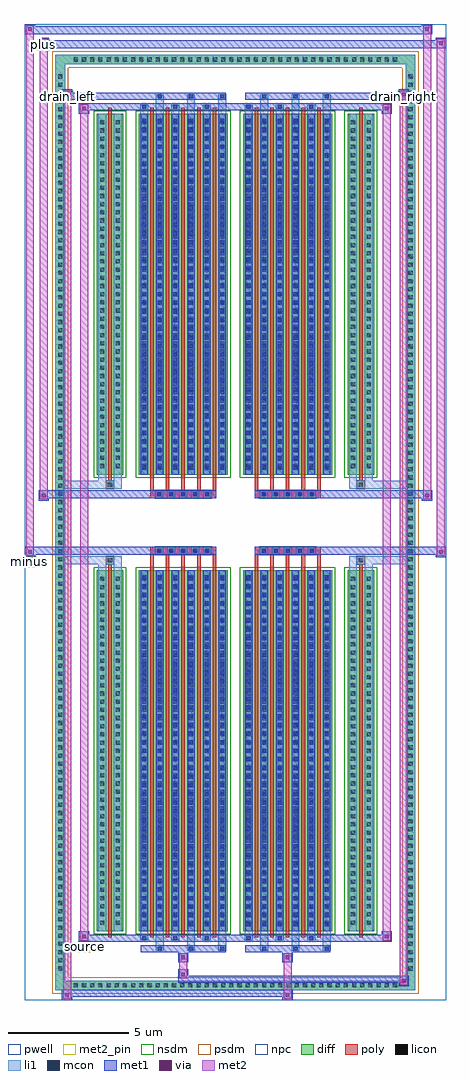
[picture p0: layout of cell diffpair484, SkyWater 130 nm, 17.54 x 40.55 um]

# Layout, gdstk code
import gdstk
lib = gdstk.Library(unit=1e-6, precision=5e-09)
def R(c, l, rs):  # rectangles x0, y0, x1, y1
    for r in rs: c.add(gdstk.rectangle(r[:2], r[2:], *l))
def A(c, l, x, y, w, h, nx, ny, dx, dy):  # array of equal rectangles
    R(c, l, [(x+i*dx, y+j*dy, x+i*dx+w, y+j*dy+h) for i in range(nx) for j in range(ny)])
def P(c, l, *ps):  # polygons
    for p in ps: c.add(gdstk.Polygon(p, *l))
pwell = (64, 44)
diff = (65, 20)
poly = (66, 20)
licon = (66, 44)
li1 = (67, 20)
mcon = (67, 44)
met1 = (68, 20)
via = (68, 44)
met2_pin = (69, 16)
met2 = (69, 20)
nsdm = (93, 44)
psdm = (94, 20)
npc = (95, 20)

diffpair484 = lib.new_cell('diffpair484')
R(diffpair484, pwell, [(-8.75,-19.84,8.75,20.71), (-6.07,-18.03,-0.01,-0.805), (0.01,-18.03,6.07,-0.805), (-6.07,0.805,-0.01,18.03), (0.01,0.805,6.07,18.03)])
A(diffpair484, diff, -6.835, -19.44, 0.41, 0.41, 40, 2, 0.34, 38.47)
A(diffpair484, diff, -7.48, -18.735, 0.41, 0.41, 1, 110, 0, 0.34)
A(diffpair484, diff, 7.07, -18.735, 0.41, 0.41, 1, 110, 0, 0.34)
R(diffpair484, diff, [(-6.835,-19.44,6.835,-19.03), (-7.48,-18.735,-7.07,18.735), (7.07,-18.735,7.48,18.735), (-5.76,-16.985,-4.66,-1.985), (-4.02,-16.985,-0.32,-1.985), (0.32,-16.985,4.02,-1.985), (4.66,-16.985,5.76,-1.985), (-5.76,1.985,-4.66,16.985), (-4.02,1.985,-0.32,16.985), (0.32,1.985,4.02,16.985), (4.66,1.985,5.76,16.985), (-6.835,19.03,6.835,19.44)])
P(diffpair484, diff, [(7.48,19.44),(-7.48,19.44),(-7.48,-19.03),(-7.07,-19.03),(-7.07,19.03),(7.07,19.03),(7.07,-19.03),(-7.07,-19.03),(-7.48,-19.03),(-7.48,-19.44),(7.48,-19.44)])
A(diffpair484, poly, -3.545, -17.235, 0.15, 15.5, 5, 2, 0.65, 18.97)
A(diffpair484, poly, 0.795, -17.235, 0.15, 15.5, 5, 2, 0.65, 18.97)
A(diffpair484, poly, -3.545, -1.735, 0.15, 0.4, 5, 2, 0.65, 3.07)
A(diffpair484, poly, 0.795, -1.735, 0.15, 0.4, 5, 2, 0.65, 3.07)
A(diffpair484, poly, -3.335, -1.335, 0.33, 0.33, 5, 2, 0.5, 2.34)
A(diffpair484, poly, 1.005, -1.335, 0.33, 0.33, 5, 2, 0.5, 2.34)
R(diffpair484, poly, [(-5.285,-17.235,-5.135,-1.735), (5.135,-17.235,5.285,-1.735), (-5.375,-1.735,-5.045,-1.405), (-5.375,-1.735,-5.045,-1.405), (5.045,-1.735,5.375,-1.405), (5.045,-1.735,5.375,-1.405), (-3.545,-1.335,-0.795,-1.005), (0.795,-1.335,3.545,-1.005), (-3.545,1.005,-0.795,1.335), (0.795,1.005,3.545,1.335), (-5.375,1.405,-5.045,1.735), (-5.375,1.405,-5.045,1.735), (5.045,1.405,5.375,1.735), (5.045,1.405,5.375,1.735), (-5.285,1.735,-5.135,17.235), (5.135,1.735,5.285,17.235)])
A(diffpair484, licon, -6.715, -19.32, 0.17, 0.17, 40, 2, 0.34, 38.47)
A(diffpair484, licon, -7.36, -18.615, 0.17, 0.17, 1, 110, 0, 0.34)
A(diffpair484, licon, 7.19, -18.615, 0.17, 0.17, 1, 110, 0, 0.34)
A(diffpair484, licon, -5.62, -16.71, 0.17, 0.17, 1, 43, 0, 0.34)
A(diffpair484, licon, -4.97, -16.71, 0.17, 0.17, 1, 43, 0, 0.34)
A(diffpair484, licon, -3.88, -16.71, 0.17, 0.17, 6, 43, 0.65, 0.34)
A(diffpair484, licon, 0.46, -16.71, 0.17, 0.17, 6, 43, 0.65, 0.34)
A(diffpair484, licon, 4.8, -16.71, 0.17, 0.17, 1, 43, 0, 0.34)
A(diffpair484, licon, 5.45, -16.71, 0.17, 0.17, 1, 43, 0, 0.34)
A(diffpair484, licon, -3.255, -1.255, 0.17, 0.17, 5, 2, 0.5, 2.34)
A(diffpair484, licon, 1.085, -1.255, 0.17, 0.17, 5, 2, 0.5, 2.34)
A(diffpair484, licon, -5.62, 2.26, 0.17, 0.17, 1, 43, 0, 0.34)
A(diffpair484, licon, -4.97, 2.26, 0.17, 0.17, 1, 43, 0, 0.34)
A(diffpair484, licon, -3.88, 2.26, 0.17, 0.17, 6, 43, 0.65, 0.34)
A(diffpair484, licon, 0.46, 2.26, 0.17, 0.17, 6, 43, 0.65, 0.34)
A(diffpair484, licon, 4.8, 2.26, 0.17, 0.17, 1, 43, 0, 0.34)
A(diffpair484, licon, 5.45, 2.26, 0.17, 0.17, 1, 43, 0, 0.34)
R(diffpair484, licon, [(-5.295,-1.655,-5.125,-1.485), (5.125,-1.655,5.295,-1.485), (-5.295,1.485,-5.125,1.655), (5.125,1.485,5.295,1.655)])
A(diffpair484, li1, -6.795, -19.4, 0.33, 0.33, 40, 2, 0.34, 38.47)
A(diffpair484, li1, -7.44, -18.695, 0.33, 0.33, 1, 110, 0, 0.34)
A(diffpair484, li1, 7.11, -18.695, 0.33, 0.33, 1, 110, 0, 0.34)
A(diffpair484, li1, -3.31, -17.79, 0.33, 0.805, 3, 2, 1.3, 34.775)
A(diffpair484, li1, -3.23, -17.79, 0.17, 0.17, 3, 2, 1.3, 35.41)
A(diffpair484, li1, 1.03, -17.79, 0.33, 0.805, 3, 2, 1.3, 34.775)
A(diffpair484, li1, 1.11, -17.79, 0.17, 0.17, 3, 2, 1.3, 35.41)
A(diffpair484, li1, -3.96, -17.36, 0.33, 0.375, 3, 2, 1.3, 34.345)
A(diffpair484, li1, -3.88, -17.36, 0.17, 0.17, 3, 2, 1.3, 34.55)
A(diffpair484, li1, 0.38, -17.36, 0.33, 0.375, 3, 2, 1.3, 34.345)
A(diffpair484, li1, 0.46, -17.36, 0.17, 0.17, 3, 2, 1.3, 34.55)
A(diffpair484, li1, -3.96, -16.985, 0.33, 15, 6, 2, 0.65, 18.97)
A(diffpair484, li1, 0.38, -16.985, 0.33, 15, 6, 2, 0.65, 18.97)
A(diffpair484, li1, -5.7, -16.79, 0.33, 0.33, 1, 43, 0, 0.34)
A(diffpair484, li1, -5.05, -16.79, 0.33, 0.33, 1, 43, 0, 0.34)
A(diffpair484, li1, -3.96, -16.79, 0.33, 0.33, 6, 43, 0.65, 0.34)
A(diffpair484, li1, 0.38, -16.79, 0.33, 0.33, 6, 43, 0.65, 0.34)
A(diffpair484, li1, 4.72, -16.79, 0.33, 0.33, 1, 43, 0, 0.34)
A(diffpair484, li1, 5.37, -16.79, 0.33, 0.33, 1, 43, 0, 0.34)
A(diffpair484, li1, -3.88, -16.77, 0.17, 0.17, 6, 41, 0.65, 0.36)
A(diffpair484, li1, -3.88, -16.77, 0.17, 14.57, 6, 2, 0.65, 18.97)
A(diffpair484, li1, 0.46, -16.77, 0.17, 0.17, 6, 41, 0.65, 0.36)
A(diffpair484, li1, 0.46, -16.77, 0.17, 14.57, 6, 2, 0.65, 18.97)
A(diffpair484, li1, -3.335, -1.335, 0.33, 0.33, 5, 2, 0.5, 2.34)
A(diffpair484, li1, 1.005, -1.335, 0.33, 0.33, 5, 2, 0.5, 2.34)
A(diffpair484, li1, -5.7, 2.18, 0.33, 0.33, 1, 43, 0, 0.34)
A(diffpair484, li1, -5.05, 2.18, 0.33, 0.33, 1, 43, 0, 0.34)
A(diffpair484, li1, -3.96, 2.18, 0.33, 0.33, 6, 43, 0.65, 0.34)
A(diffpair484, li1, 0.38, 2.18, 0.33, 0.33, 6, 43, 0.65, 0.34)
A(diffpair484, li1, 4.72, 2.18, 0.33, 0.33, 1, 43, 0, 0.34)
A(diffpair484, li1, 5.37, 2.18, 0.33, 0.33, 1, 43, 0, 0.34)
A(diffpair484, li1, -3.88, 2.2, 0.17, 0.17, 6, 41, 0.65, 0.36)
A(diffpair484, li1, 0.46, 2.2, 0.17, 0.17, 6, 41, 0.65, 0.36)
R(diffpair484, li1, [(-7.48,-19.44,-7.07,-19.03), (-7.48,-19.44,-7.07,-19.03), (-7.07,-19.44,7.07,-19.03), (7.07,-19.44,7.48,-19.03), (7.07,-19.44,7.48,-19.03), (-7.48,-19.03,-7.07,19.03), (7.07,-19.03,7.48,19.03), (-5.7,-16.985,-5.37,-1.985), (-5.05,-16.985,-4.72,-1.985), (4.72,-16.985,5.05,-1.985), (5.37,-16.985,5.7,-1.985), (-5.7,-1.985,-5.37,-1.405), (-5.05,-1.985,-4.72,-1.405), (4.72,-1.985,5.05,-1.405), (5.37,-1.985,5.7,-1.405), (-7.48,-1.735,-5.375,-1.405), (-5.7,-1.735,-5.375,-1.405), (-5.375,-1.735,-5.045,-1.405), (-5.045,-1.735,-4.72,-1.405), (4.72,-1.735,5.045,-1.405), (5.045,-1.735,5.375,-1.405), (5.045,-1.735,7.48,-1.405), (5.375,-1.735,5.7,-1.405), (-7.48,1.405,-5.375,1.735), (-5.7,1.405,-5.375,1.735), (-5.7,1.405,-5.37,1.985), (-5.375,1.405,-5.045,1.735), (-5.05,1.405,-4.72,1.985), (-5.045,1.405,-4.72,1.735), (4.72,1.405,5.045,1.735), (4.72,1.405,5.05,1.985), (5.045,1.405,5.375,1.735), (5.045,1.405,7.48,1.735), (5.37,1.405,5.7,1.985), (5.375,1.405,5.7,1.735), (-5.7,1.985,-5.37,16.985), (-5.05,1.985,-4.72,16.985), (4.72,1.985,5.05,16.985), (5.37,1.985,5.7,16.985), (-7.48,19.03,-7.07,19.44), (-7.48,19.03,-7.07,19.44), (-7.07,19.03,7.07,19.44), (7.07,19.03,7.48,19.44), (7.07,19.03,7.48,19.44)])
A(diffpair484, mcon, -3.23, -17.79, 0.17, 0.17, 3, 2, 1.3, 35.41)
A(diffpair484, mcon, 1.11, -17.79, 0.17, 0.17, 3, 2, 1.3, 35.41)
A(diffpair484, mcon, -3.88, -17.36, 0.17, 0.17, 3, 2, 1.3, 34.55)
A(diffpair484, mcon, 0.46, -17.36, 0.17, 0.17, 3, 2, 1.3, 34.55)
A(diffpair484, mcon, -3.88, -16.77, 0.17, 0.17, 6, 41, 0.65, 0.36)
A(diffpair484, mcon, 0.46, -16.77, 0.17, 0.17, 6, 41, 0.65, 0.36)
A(diffpair484, mcon, -3.255, -1.255, 0.17, 0.17, 5, 2, 0.5, 2.34)
A(diffpair484, mcon, 1.085, -1.255, 0.17, 0.17, 5, 2, 0.5, 2.34)
A(diffpair484, mcon, -3.88, 2.2, 0.17, 0.17, 6, 41, 0.65, 0.36)
A(diffpair484, mcon, 0.46, 2.2, 0.17, 0.17, 6, 41, 0.65, 0.36)
A(diffpair484, met1, -3.29, -17.85, 0.29, 0.29, 3, 2, 1.3, 35.41)
A(diffpair484, met1, 1.05, -17.85, 0.29, 0.29, 3, 2, 1.3, 35.41)
A(diffpair484, met1, -3.94, -17.42, 0.29, 0.29, 3, 2, 1.3, 34.55)
A(diffpair484, met1, 0.4, -17.42, 0.29, 0.29, 3, 2, 1.3, 34.55)
A(diffpair484, met1, -3.94, -16.985, 0.29, 15, 6, 2, 0.65, 18.97)
A(diffpair484, met1, 0.4, -16.985, 0.29, 15, 6, 2, 0.65, 18.97)
A(diffpair484, met1, -3.94, -16.83, 0.29, 0.29, 6, 41, 0.65, 0.36)
A(diffpair484, met1, 0.4, -16.83, 0.29, 0.29, 6, 41, 0.65, 0.36)
A(diffpair484, met1, -3.315, -1.315, 0.29, 0.29, 5, 2, 0.5, 2.34)
A(diffpair484, met1, 1.025, -1.315, 0.29, 0.29, 5, 2, 0.5, 2.34)
A(diffpair484, met1, -3.94, 2.14, 0.29, 0.29, 6, 41, 0.65, 0.36)
A(diffpair484, met1, 0.4, 2.14, 0.29, 0.29, 6, 41, 0.65, 0.36)
R(diffpair484, met1, [(-7.21,-19.84,-6.78,-19.41), (1.955,-19.84,2.385,-19.41), (-7.21,-19.7,2.385,-19.41), (6.78,-19.27,7.21,-18.84), (-2.385,-19.13,7.21,-18.84), (-2.385,-18.99,-1.955,-18.56), (-2.385,-18.28,-1.955,-17.85), (1.955,-18.28,2.385,-17.85), (-3.94,-17.85,-0.4,-17.56), (0.4,-17.85,3.94,-17.56), (-6.5,-17.42,-6.07,-16.99), (-6.5,-17.42,-3.94,-17.13), (-3.94,-17.42,-0.4,-17.13), (-0.4,-17.42,0.4,-17.13), (0.4,-17.42,3.94,-17.13), (3.94,-17.42,6.5,-17.13), (6.07,-17.42,6.5,-16.99), (-8.75,-1.435,-8.32,-1.005), (8.32,-1.435,8.75,-1.005), (-8.75,-1.335,-0.795,-1.005), (-3.545,-1.335,-0.795,-1.005), (0.795,-1.335,3.545,-1.005), (0.795,-1.335,8.75,-1.005), (-8.18,0.905,-7.75,1.335), (7.75,0.905,8.18,1.335), (-8.18,1.005,-3.545,1.335), (-3.545,1.005,-0.795,1.335), (0.795,1.005,3.545,1.335), (3.545,1.005,8.18,1.335), (-6.5,16.99,-6.07,17.42), (6.07,16.99,6.5,17.42), (-6.5,17.13,-3.94,17.42), (-3.94,17.13,-0.4,17.42), (-0.4,17.13,0.4,17.42), (0.4,17.13,3.94,17.42), (3.94,17.13,6.5,17.42), (-7.21,17.56,-6.78,17.99), (-7.21,17.56,-3.94,17.85), (-3.94,17.56,-0.4,17.85), (0.4,17.56,3.94,17.85), (3.94,17.56,7.21,17.85), (6.78,17.56,7.21,17.99), (-8.18,19.71,-7.75,20.14), (-8.18,19.71,-6.07,20.04), (-6.07,19.71,6.07,20.04), (6.07,19.71,8.75,20.04), (8.32,19.71,8.75,20.14), (-8.75,20.28,-8.32,20.71), (-8.75,20.28,-6.07,20.61), (-6.07,20.28,6.07,20.61), (6.07,20.28,8.18,20.61), (7.75,20.28,8.18,20.71)])
R(diffpair484, via, [(-7.07,-19.7,-6.92,-19.55), (2.095,-19.7,2.245,-19.55), (6.92,-19.13,7.07,-18.98), (-2.245,-18.85,-2.095,-18.7), (-2.245,-18.14,-2.095,-17.99), (2.095,-18.14,2.245,-17.99), (-6.36,-17.28,-6.21,-17.13), (6.21,-17.28,6.36,-17.13), (-8.61,-1.295,-8.46,-1.145), (8.46,-1.295,8.61,-1.145), (-8.04,1.045,-7.89,1.195), (7.89,1.045,8.04,1.195), (-6.36,17.13,-6.21,17.28), (6.21,17.13,6.36,17.28), (-7.07,17.7,-6.92,17.85), (6.92,17.7,7.07,17.85), (-8.04,19.85,-7.89,20), (8.46,19.85,8.61,20), (-8.61,20.42,-8.46,20.57), (7.89,20.42,8.04,20.57)])
R(diffpair484, met2_pin, [(-6.535,-17.87,-6.035,-17.37), (-8.785,-1.885,-8.285,-1.385), (-7.245,17.44,-6.745,17.94), (6.745,17.44,7.245,17.94), (-8.215,19.59,-7.715,20.09)])
R(diffpair484, met2, [(-7.16,-19.79,-6.83,-19.46), (-7.16,-19.79,-6.83,17.94), (2.005,-19.79,2.335,-19.46), (2.005,-19.46,2.335,-18.23), (6.83,-19.22,7.16,-18.89), (6.83,-19.22,7.16,17.94), (-2.335,-18.94,-2.005,-18.61), (-2.335,-18.61,-2.005,-18.23), (-2.335,-18.23,-2.005,-17.9), (2.005,-18.23,2.335,-17.9), (-6.45,-17.37,-6.12,-17.04), (-6.45,-17.37,-6.12,17.37), (6.12,-17.37,6.45,-17.04), (6.12,-17.37,6.45,17.37), (-8.7,-1.385,-8.37,-1.055), (-8.7,-1.385,-8.37,20.66), (8.37,-1.385,8.7,-1.055), (8.37,-1.385,8.7,20.09), (-8.13,0.955,-7.8,1.285), (-8.13,0.955,-7.8,20.09), (7.8,0.955,8.13,1.285), (7.8,0.955,8.13,20.66), (-6.45,17.04,-6.12,17.37), (6.12,17.04,6.45,17.37), (-7.16,17.61,-6.83,17.94), (6.83,17.61,7.16,17.94), (-8.13,19.76,-7.8,20.09), (8.37,19.76,8.7,20.09), (-8.7,20.33,-8.37,20.66), (7.8,20.33,8.13,20.66)])
P(diffpair484, met2, [(8.7,-1.385),(8.7,-1.385),(8.7,-1.055),(8.7,-1.055)],
  [(8.7,19.76),(8.7,19.76),(8.7,20.09),(8.7,20.09)],
  [(-8.37,-1.385),(-8.37,-1.385),(-8.37,-1.055),(-8.37,-1.055)],
  [(-8.37,20.33),(-8.37,20.33),(-8.37,20.66),(-8.37,20.66)],
  [(8.13,0.955),(8.13,0.955),(8.13,1.285),(8.13,1.285)],
  [(8.13,20.33),(8.13,20.33),(8.13,20.66),(8.13,20.66)],
  [(-7.8,0.955),(-7.8,0.955),(-7.8,1.285),(-7.8,1.285)],
  [(-7.8,19.76),(-7.8,19.76),(-7.8,20.09),(-7.8,20.09)],
  [(-6.83,-19.79),(-6.83,-19.79),(-6.83,-19.46),(-6.83,-19.46)],
  [(-6.83,17.61),(-6.83,17.61),(-6.83,17.94),(-6.83,17.94)],
  [(7.16,-19.22),(7.16,-19.22),(7.16,-18.89),(7.16,-18.89)],
  [(7.16,17.61),(7.16,17.61),(7.16,17.94),(7.16,17.94)],
  [(-6.12,-17.37),(-6.12,-17.37),(-6.12,-17.04),(-6.12,-17.04)],
  [(-6.12,17.04),(-6.12,17.04),(-6.12,17.37),(-6.12,17.37)],
  [(6.45,-17.37),(6.45,-17.37),(6.45,-17.04),(6.45,-17.04)],
  [(6.45,17.04),(6.45,17.04),(6.45,17.37),(6.45,17.37)])
R(diffpair484, nsdm, [(-5.89,-17.115,-4.53,-1.855), (-4.15,-17.115,-0.19,-1.855), (0.19,-17.115,4.15,-1.855), (4.53,-17.115,5.89,-1.855), (-5.89,1.855,-4.53,17.115), (-4.15,1.855,-0.19,17.115), (0.19,1.855,4.15,17.115), (4.53,1.855,5.89,17.115)])
P(diffpair484, psdm, [(7.61,19.57),(-7.61,19.57),(-7.61,-18.9),(-6.94,-18.9),(-6.94,18.9),(6.94,18.9),(6.94,-18.9),(-6.94,-18.9),(-7.61,-18.9),(-7.61,-19.57),(7.61,-19.57)])
A(diffpair484, npc, -3.355, -1.355, 0.37, 0.37, 5, 2, 0.5, 2.34)
A(diffpair484, npc, 0.985, -1.355, 0.37, 0.37, 5, 2, 0.5, 2.34)
R(diffpair484, npc, [(-5.395,-1.755,-5.025,-1.385), (5.025,-1.755,5.395,-1.385), (-3.355,-1.355,-2.485,-0.985), (-3.355,-1.355,-2.485,-0.985), (-2.855,-1.355,-1.985,-0.985), (-2.855,-1.355,-1.985,-0.985), (-2.355,-1.355,-1.485,-0.985), (-2.355,-1.355,-1.485,-0.985), (-1.855,-1.355,-0.985,-0.985), (-1.855,-1.355,-0.985,-0.985), (0.985,-1.355,1.855,-0.985), (0.985,-1.355,1.855,-0.985), (1.485,-1.355,2.355,-0.985), (1.485,-1.355,2.355,-0.985), (1.985,-1.355,2.855,-0.985), (1.985,-1.355,2.855,-0.985), (2.485,-1.355,3.355,-0.985), (2.485,-1.355,3.355,-0.985), (-3.355,0.985,-2.485,1.355), (-3.355,0.985,-2.485,1.355), (-2.855,0.985,-1.985,1.355), (-2.855,0.985,-1.985,1.355), (-2.355,0.985,-1.485,1.355), (-2.355,0.985,-1.485,1.355), (-1.855,0.985,-0.985,1.355), (-1.855,0.985,-0.985,1.355), (0.985,0.985,1.855,1.355), (0.985,0.985,1.855,1.355), (1.485,0.985,2.355,1.355), (1.485,0.985,2.355,1.355), (1.985,0.985,2.855,1.355), (1.985,0.985,2.855,1.355), (2.485,0.985,3.355,1.355), (2.485,0.985,3.355,1.355), (-5.395,1.385,-5.025,1.755), (5.025,1.385,5.395,1.755)])
diffpair484.add(gdstk.Label('minus', (-8.535,-1.635), layer=69, texttype=5))
diffpair484.add(gdstk.Label('drain_right', (6.995,17.69), layer=69, texttype=5))
diffpair484.add(gdstk.Label('drain_left', (-6.995,17.69), layer=69, texttype=5))
diffpair484.add(gdstk.Label('source', (-6.285,-17.62), layer=69, texttype=5))
diffpair484.add(gdstk.Label('plus', (-7.965,19.84), layer=69, texttype=5))

lib.write_gds('diffpair484.gds')
